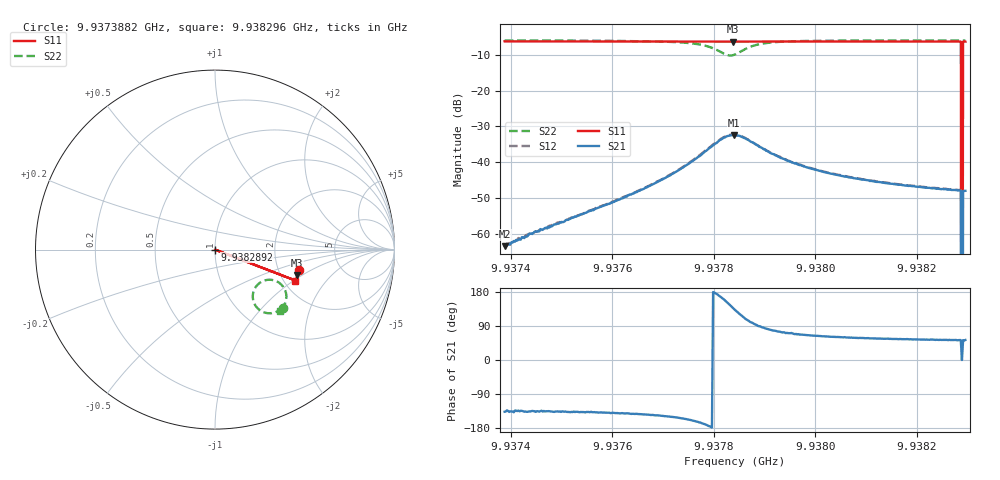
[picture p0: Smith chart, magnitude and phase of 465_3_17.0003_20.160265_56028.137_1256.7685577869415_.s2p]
#  HZ  S  RI  R  50.00
! Rohde & Schwarz Vector Network Analyzer
! Rohde-Schwarz,ZNB20-2Port,1311601062101988,3.16
! Created: UTC 3/20/2024, 11:12:57 PM
! freq[Hz]  re:S11  im:S11  re:S21  im:S21  re:S12  im:S12  re:S22  im:S22
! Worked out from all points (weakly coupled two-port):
!   401 points, 9.9373882 GHz to 9.938296 GHz, reference 50 ohm
!   highest |S21| = -32.34 dB at 9.9378398 GHz (marker M1); lowest = -63.3 dB at 9.9373882 GHz (marker M2)
!   lowest |S11| = -6.4 dB at 9.9378375 GHz (marker M3), VSWR 2.83, Z = 122 - j45.1 ohm
!   |S11| at or under -10 dB: 9.938287 GHz to 9.9382914 GHz (4.454 kHz wide, 4.48e-05 % of centre)
!   |S22| runs from -10.2 to -6.1 dB; largest |S21 - S12| = 0.0041
!   S11 on the Smith chart (normalised r, x): 9.9373882 GHz: 2.60, -0.78; 9.9382892 GHz: 1.00, +0.00; 9.938296 GHz: 2.30, -1.03
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9.93738819e9  0.4694 -0.1143  -0.000495 -0.000469  -0.000526 -0.000479  0.3785 -0.3226
9.93739953e9  0.4691 -0.1149  -0.000519 -0.000506  -0.000519 -0.000491  0.3776 -0.3233
9.93743585e9  0.4685 -0.1175  -0.000723 -0.000706  -0.000712 -0.000691  0.3745 -0.3262
9.93754024e9  0.4662 -0.1245  -0.0014 -0.0013  -0.0014 -0.00126  0.3631 -0.335
9.9376923e9  0.4625 -0.1347  -0.00456 -0.00303  -0.00465 -0.00299  0.3285 -0.3517
9.93773996e9  0.461 -0.1379  -0.00767 -0.00367  -0.00789 -0.0036  0.3005 -0.3546
9.93778535e9  0.459 -0.141  -0.0143 -0.00232  -0.0147 -0.00192  0.2474 -0.3358
9.93781485e9  0.4572 -0.142  -0.0202 0.00514  -0.0206 0.00598  0.2108 -0.2684
9.93783755e9  0.4569 -0.1422  -0.0179 0.0161  -0.0177 0.0168  0.2457 -0.1881
9.93783982e9  0.457 -0.1422  -0.0171 0.0171  -0.0167 0.0178  0.2537 -0.1824
9.93784209e9  0.457 -0.1422  -0.0159 0.0177  -0.0158 0.0185  0.262 -0.1779
9.93786932e9  0.4576 -0.1436  -0.00464 0.0198  -0.00396 0.02  0.3537 -0.1821
9.93789429e9  0.4578 -0.1455  0.000872 0.016  0.00128 0.0161  0.3885 -0.2212
9.93794875e9  0.4568 -0.1495  0.00345 0.00989  0.00359 0.00978  0.3968 -0.2748
9.93799414e9  0.4558 -0.1529  0.00348 0.00732  0.00368 0.00733  0.3915 -0.296
9.93805315e9  0.4543 -0.1567  0.00323 0.00558  0.00339 0.00562  0.3842 -0.3119
9.9381462e9  0.4518 -0.1629  0.00286 0.0042  0.00295 0.00422  0.3744 -0.3265
9.93828237e9  0.448 -0.1717  0.00248 0.00323  0.00256 0.00321  0.363 -0.3397
9.93828464e9  0.4479 -0.1719  0.00247 0.00322  0.0026 0.00322  0.3626 -0.3401
9.93828918e9  0 0  0 0  0.00256 0.00317  0.3626 -0.3403
9.93829372e9  0.4476 -0.1724  0.00248 0.00313  0.00254 0.00316  0.3621 -0.3405
9.93829599e9  0.4475 -0.1726  0.00243 0.0032  0.00255 0.00317  0.3618 -0.3407
